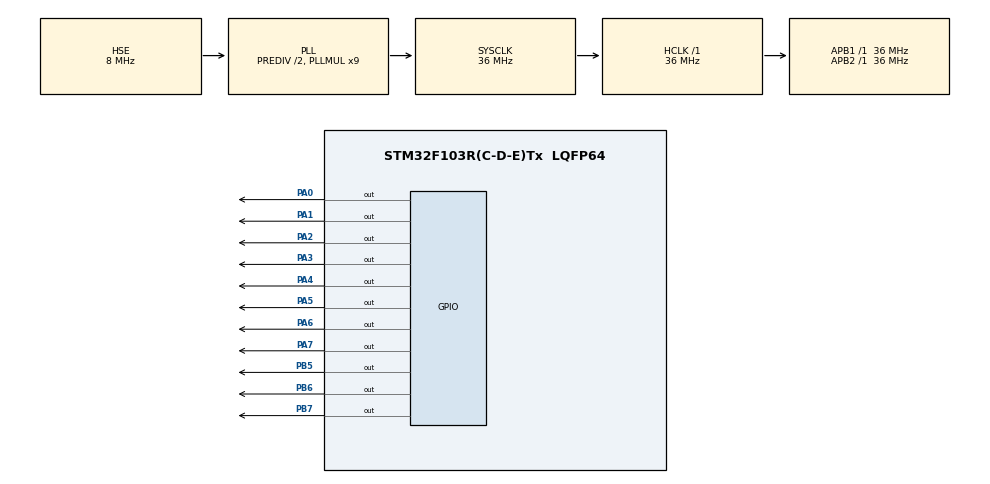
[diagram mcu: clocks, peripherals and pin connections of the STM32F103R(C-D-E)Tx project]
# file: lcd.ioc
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Mcu.Family=STM32F1
Mcu.Name=STM32F103R(C-D-E)Tx
Mcu.Package=LQFP64
NVIC.PriorityGroup=NVIC_PRIORITYGROUP_4
PA0-WKUP.Signal=GPIO_Output
PA1.Signal=GPIO_Output
PA2.Signal=GPIO_Output
PA3.Signal=GPIO_Output
PA4.Signal=GPIO_Output
PA5.Signal=GPIO_Output
PA6.Signal=GPIO_Output
PA7.Signal=GPIO_Output
PB5.Signal=GPIO_Output
PB6.Signal=GPIO_Output
PB7.Signal=GPIO_Output
PD0-OSC_IN.Mode=HSE-External-Oscillator
PD0-OSC_IN.Signal=RCC_OSC_IN
PD1-OSC_OUT.Mode=HSE-External-Oscillator
PD1-OSC_OUT.Signal=RCC_OSC_OUT
ProjectManager.TargetToolchain=EWARM
RCC.AHBFreq_Value=36000000
RCC.APB1Freq_Value=36000000
RCC.APB1TimFreq_Value=36000000
RCC.APB2Freq_Value=36000000
RCC.APB2TimFreq_Value=36000000
RCC.EnbaleCSS=true
RCC.HCLKFreq_Value=36000000
RCC.HSEDivPLL=RCC_HSE_PREDIV_DIV2
RCC.HSIState=RCC_HSI_ON
RCC.PLLMUL=RCC_PLL_MUL9
RCC.PLLSourceVirtual=RCC_PLLSOURCE_HSE
RCC.SYSCLKFreq_VALUE=36000000
RCC.SYSCLKSource=RCC_SYSCLKSOURCE_PLLCLK
RCC.USBFreq_Value=36000000
board=lcd

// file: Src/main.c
/**
  ******************************************************************************
  * File Name          : main.c
  * Description        : Main program body
  ******************************************************************************
  *
  * COPYRIGHT(c) 2016 STMicroelectronics
  *
  * Redistribution and use in source and binary forms, with or without modification,
  * are permitted provided that the following conditions are met:
  *   1. Redistributions of source code must retain the above copyright notice,
  *      this list of conditions and the following disclaimer.
  *   2. Redistributions in binary form must reproduce the above copyright notice,
  *      this list of conditions and the following disclaimer in the documentation
  *      and/or other materials provided with the distribution.
  *   3. Neither the name of STMicroelectronics nor the names of its contributors
  *      may be used to endorse or promote products derived from this software
  *      without specific prior written permission.
  *
  * THIS SOFTWARE IS PROVIDED BY THE COPYRIGHT HOLDERS AND CONTRIBUTORS "AS IS"
  * AND ANY EXPRESS OR IMPLIED WARRANTIES, INCLUDING, BUT NOT LIMITED TO, THE
  * IMPLIED WARRANTIES OF MERCHANTABILITY AND FITNESS FOR A PARTICULAR PURPOSE ARE
  * DISCLAIMED. IN NO EVENT SHALL THE COPYRIGHT HOLDER OR CONTRIBUTORS BE LIABLE
  * FOR ANY DIRECT, INDIRECT, INCIDENTAL, SPECIAL, EXEMPLARY, OR CONSEQUENTIAL
  * DAMAGES (INCLUDING, BUT NOT LIMITED TO, PROCUREMENT OF SUBSTITUTE GOODS OR
  * SERVICES; LOSS OF USE, DATA, OR PROFITS; OR BUSINESS INTERRUPTION) HOWEVER
  * CAUSED AND ON ANY THEORY OF LIABILITY, WHETHER IN CONTRACT, STRICT LIABILITY,
  * OR TORT (INCLUDING NEGLIGENCE OR OTHERWISE) ARISING IN ANY WAY OUT OF THE USE
  * OF THIS SOFTWARE, EVEN IF ADVISED OF THE POSSIBILITY OF SUCH DAMAGE.
  *
  ******************************************************************************
  */
#include "stm32f1xx_hal.h"

/* USER CODE BEGIN Includes */

#include "LCD\lcd.h"
#include <stdio.h>

/* USER CODE END Includes */

/* USER CODE BEGIN PV */
/* Private variables ---------------------------------------------------------*/

char str[17];
int i;

/* USER CODE END PV */

void SystemClock_Config(void);
static void MX_GPIO_Init(void);

/* USER CODE BEGIN PFP */
/* Private function prototypes -----------------------------------------------*/

/* USER CODE END PFP */

int main(void)
{

  /* MCU Configuration----------------------------------------------------------*/

  /* Reset of all peripherals, Initializes the Flash interface and the Systick. */
  HAL_Init();

  /* Configure the system clock */
  SystemClock_Config();

  /* Initialize all configured peripherals */
  MX_GPIO_Init();

  /* Infinite loop */
  /* USER CODE BEGIN WHILE */

  lcd_init();
  lcd_clear();

  lcd_gotoxy(5,0);
  lcd_puts("LCD TEST!");
  HAL_Delay(3000);
  lcd_clear();

  while (1)
  {
    sprintf(str,"Value=%d",i);
    lcd_gotoxy(0,0);
    lcd_puts(str);
    HAL_Delay(1000);
    i++;

  /* USER CODE END WHILE */

  }

}

/** System Clock Configuration
*/
void SystemClock_Config(void)
{

  RCC_OscInitTypeDef RCC_OscInitStruct;
  RCC_ClkInitTypeDef RCC_ClkInitStruct;

  RCC_OscInitStruct.OscillatorType = RCC_OSCILLATORTYPE_HSE;
  RCC_OscInitStruct.HSEState = RCC_HSE_ON;
  RCC_OscInitStruct.HSEPredivValue = RCC_HSE_PREDIV_DIV2;
  RCC_OscInitStruct.PLL.PLLState = RCC_PLL_ON;
  RCC_OscInitStruct.PLL.PLLSource = RCC_PLLSOURCE_HSE;
  RCC_OscInitStruct.PLL.PLLMUL = RCC_PLL_MUL9;
  HAL_RCC_OscConfig(&RCC_OscInitStruct);

  RCC_ClkInitStruct.ClockType = RCC_CLOCKTYPE_SYSCLK;
  RCC_ClkInitStruct.SYSCLKSource = RCC_SYSCLKSOURCE_PLLCLK;
  RCC_ClkInitStruct.AHBCLKDivider = RCC_SYSCLK_DIV1;
  RCC_ClkInitStruct.APB1CLKDivider = RCC_HCLK_DIV1;
  RCC_ClkInitStruct.APB2CLKDivider = RCC_HCLK_DIV1;
  HAL_RCC_ClockConfig(&RCC_ClkInitStruct, FLASH_LATENCY_1);

  HAL_RCC_EnableCSS();

  HAL_SYSTICK_Config(HAL_RCC_GetHCLKFreq()/1000);

  HAL_SYSTICK_CLKSourceConfig(SYSTICK_CLKSOURCE_HCLK);

  /* SysTick_IRQn interrupt configuration */
  HAL_NVIC_SetPriority(SysTick_IRQn, 0, 0);
}

/** Configure pins as
        * Analog
        * Input
        * Output
        * EVENT_OUT
        * EXTI
*/
void MX_GPIO_Init(void)
{

  GPIO_InitTypeDef GPIO_InitStruct;

  /* GPIO Ports Clock Enable */
  __GPIOD_CLK_ENABLE();
  __GPIOA_CLK_ENABLE();
  __GPIOB_CLK_ENABLE();

  /*Configure GPIO pins : PA0 PA1 PA2 PA3
                           PA4 PA5 PA6 PA7 */
  GPIO_InitStruct.Pin = GPIO_PIN_0|GPIO_PIN_1|GPIO_PIN_2|GPIO_PIN_3
                          |GPIO_PIN_4|GPIO_PIN_5|GPIO_PIN_6|GPIO_PIN_7;
  GPIO_InitStruct.Mode = GPIO_MODE_OUTPUT_PP;
  GPIO_InitStruct.Speed = GPIO_SPEED_LOW;
  HAL_GPIO_Init(GPIOA, &GPIO_InitStruct);

  /*Configure GPIO pins : PB5 PB6 PB7 */
  GPIO_InitStruct.Pin = GPIO_PIN_5|GPIO_PIN_6|GPIO_PIN_7;
  GPIO_InitStruct.Mode = GPIO_MODE_OUTPUT_PP;
  GPIO_InitStruct.Speed = GPIO_SPEED_LOW;
  HAL_GPIO_Init(GPIOB, &GPIO_InitStruct);

}

/************************ (C) COPYRIGHT STMicroelectronics *****END OF FILE****/
